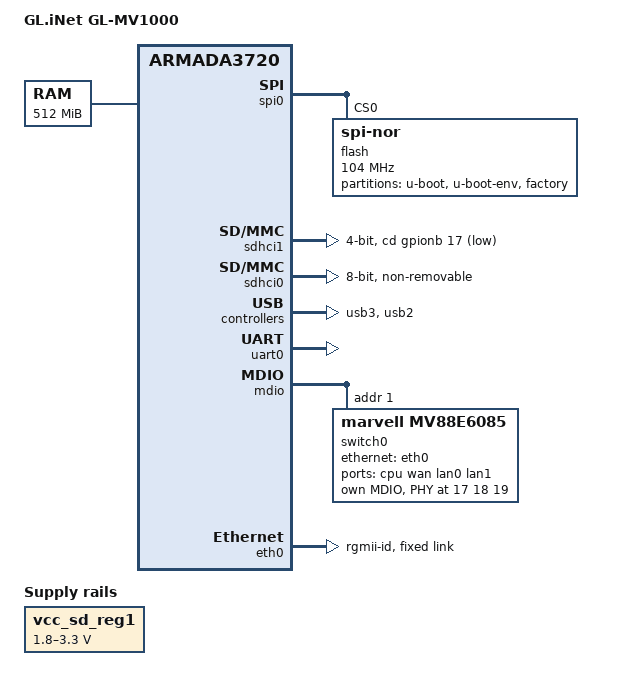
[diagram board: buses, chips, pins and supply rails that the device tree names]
// SPDX-License-Identifier: (GPL-2.0-or-later OR MIT)

/dts-v1/;
#include <dt-bindings/gpio/gpio.h>
#include "armada-372x.dtsi"

/ {
	model = "GL.iNet GL-MV1000";
	compatible = "glinet,gl-mv1000", "marvell,armada3720";

	chosen {
		stdout-path = "serial0:115200n8";
	};

	memory@0 {
		device_type = "memory";
		reg = <0x00000000 0x00000000 0x00000000 0x20000000>;
	};

	vcc_sd_reg1: regulator {
		compatible = "regulator-gpio";
		regulator-name = "vcc_sd1";
		regulator-min-microvolt = <1800000>;
		regulator-max-microvolt = <3300000>;
		regulator-boot-on;
        
		gpios-states = <0>;
		states = <1800000 0x1
			3300000 0x0>;
		enable-active-high;
	};
};

&spi0 {
	status = "okay";

	flash@0 {
		reg = <0>;
		compatible = "jedec,spi-nor";
		spi-max-frequency = <104000000>;
		m25p,fast-read;
		partitions {
			compatible = "fixed-partitions";
			#address-cells = <1>;
			#size-cells = <1>;

			partition@0 {
				label = "u-boot";
				reg = <0 0xf0000>;
			};

			partition@f0000 {
				label = "u-boot-env";
				reg = <0Xf0000 0x8000>;
			};

			factory: partition@f8000 {
				label = "factory";
				reg = <0xf8000 0x8000>;
			};
		};
	};
};

&sdhci1 {
	wp-inverted;
	bus-width = <4>;
	cd-gpios = <&gpionb 17 GPIO_ACTIVE_LOW>;
	marvell,pad-type = "sd";
	no-1-8-v;
	vqmmc-supply = <&vcc_sd_reg1>;
	status = "okay";
};

&sdhci0 {
	bus-width = <8>;
	mmc-ddr-1_8v;
	mmc-hs400-1_8v;
	non-removable;
	no-sd;
	no-sdio;
	marvell,pad-type = "fixed-1-8v";
	status = "okay";
};

&usb3 {
	status = "okay";
};

&usb2 {
	status = "okay";
};

&uart0 {
	status = "okay";
};

&mdio {
	switch0: switch0@1 {
		compatible = "marvell,mv88e6085";
		#address-cells = <1>;
		#size-cells = <0>;
		reg = <1>;

		dsa,member = <0 0>;

		ports: ports {
			#address-cells = <1>;
			#size-cells = <0>;

			port@0 {
				reg = <0>;
				label = "cpu";
				ethernet = <&eth0>;
			};

			port@1 {
				reg = <1>;
				label = "wan";
				phy-handle = <&switch0phy0>;
			};

			port@2 {
				reg = <2>;
				label = "lan0";
				phy-handle = <&switch0phy1>;
			};

			port@3 {
				reg = <3>;
				label = "lan1";
				phy-handle = <&switch0phy2>;
			};
		};

		mdio {
			#address-cells = <1>;
			#size-cells = <0>;

			switch0phy0: switch0phy0@11 {
				reg = <0x11>;
			};
			switch0phy1: switch0phy1@12 {
				reg = <0x12>;
			};
			switch0phy2: switch0phy2@13 {
				reg = <0x13>;
			};
		};
	};
};

&eth0 {
	mtd-mac-address = <&factory 0x0>;
	phy-mode = "rgmii-id";
	status = "okay";

	fixed-link {
		speed = <1000>;
		full-duplex;
	};
};
